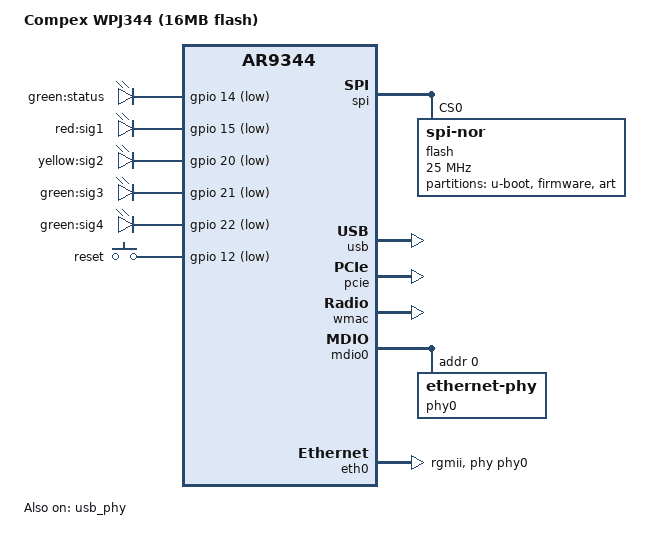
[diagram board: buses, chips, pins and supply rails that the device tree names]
// SPDX-License-Identifier: GPL-2.0-or-later OR MIT

#include "ar9344.dtsi"

#include <dt-bindings/gpio/gpio.h>
#include <dt-bindings/input/input.h>

/ {
	compatible = "compex,wpj344-16m", "qca,ar9344";
	model = "Compex WPJ344 (16MB flash)";

	aliases {
		label-mac-device = &eth0;
		led-boot = &led_status;
		led-failsafe = &led_status;
		led-running = &led_status;
		led-upgrade = &led_status;
	};

	leds {
		compatible = "gpio-leds";

		led_status: status {
			label = "green:status";
			gpios = <&gpio 14 GPIO_ACTIVE_LOW>;
		};

		sig1 {
			label = "red:sig1";
			gpios = <&gpio 15 GPIO_ACTIVE_LOW>;
		};

		sig2 {
			label = "yellow:sig2";
			gpios = <&gpio 20 GPIO_ACTIVE_LOW>;
		};

		sig3 {
			label = "green:sig3";
			gpios = <&gpio 21 GPIO_ACTIVE_LOW>;
		};

		sig4 {
			label = "green:sig4";
			gpios = <&gpio 22 GPIO_ACTIVE_LOW>;
		};
	};

	keys {
		compatible = "gpio-keys";

		reset {
			linux,code = <KEY_RESTART>;
			gpios = <&gpio 12 GPIO_ACTIVE_LOW>;
			debounce-interval = <60>;
		};
	};
};

&ref {
	clock-frequency = <40000000>;
};

&spi {
	status = "okay";

	flash@0 {
		compatible = "jedec,spi-nor";
		reg = <0>;
		spi-max-frequency = <25000000>;

		partitions {
			compatible = "fixed-partitions";
			#address-cells = <1>;
			#size-cells = <1>;

			uboot: partition@0 {
				label = "u-boot";
				reg = <0x000000 0x030000>;
				read-only;
			};

			partition@30000 {
				label = "firmware";
				reg = <0x030000 0xfc0000>;
				compatible = "denx,uimage";
			};

			art: partition@ff0000 {
				label = "art";
				reg = <0xff0000 0x010000>;
				read-only;
			};
		};
	};
};

&usb {
	status = "okay";
};

&usb_phy {
	status = "okay";
};

&pcie {
	status = "okay";
};

&wmac {
	status = "okay";

	mtd-cal-data = <&art 0x1000>;
};

&mdio0 {
	status = "okay";

	phy-mask = <0>;

	phy0: ethernet-phy@0 {
		reg = <0>;
		phy-mode = "rgmii";

		qca,ar8327-initvals = <
			0x04 0x07600000 /* PORT0 PAD MODE CTRL */
			0x10 0x80000080 /* POWER_ON_STRAP */
			0x50 0x00000000 /* LED_CTRL0 */
			0x54 0xc737c737 /* LED_CTRL1 */
			0x58 0x00000000 /* LED_CTRL2 */
			0x5c 0x00c30c00 /* LED_CTRL3 */
			0x7c 0x0000007e /* PORT0_STATUS */
			>;
	};
};

&eth0 {
	status = "okay";

	pll-data = <0x06000000 0x00000101 0x00001616>;

	nvmem-cells = <&macaddr_uboot_2e010>;
	nvmem-cell-names = "mac-address";

	phy-mode = "rgmii";
	phy-handle = <&phy0>;
};

&uboot {
	compatible = "nvmem-cells";
	#address-cells = <1>;
	#size-cells = <1>;

	macaddr_uboot_2e010: macaddr@2e010 {
		reg = <0x2e010 0x6>;
	};
};
